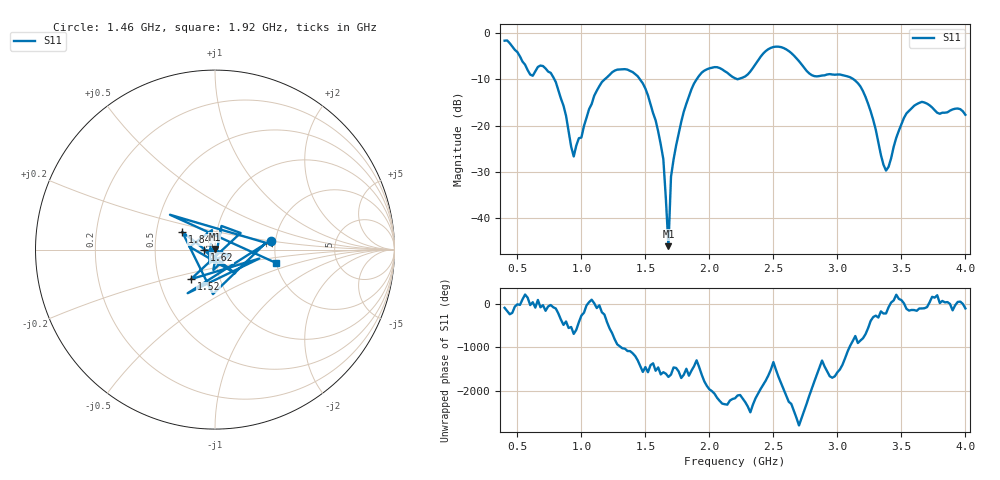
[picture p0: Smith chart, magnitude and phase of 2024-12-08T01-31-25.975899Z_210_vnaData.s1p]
!Created with skrf (http://scikit-rf.org).
# Hz S RI R 50.0
!freq ReS11 ImS11
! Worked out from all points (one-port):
!   181 points, 400 MHz to 4 GHz, reference 50 ohm
!   lowest |S11| = -46.1 dB at 1.68 GHz (marker M1), VSWR 1.01, Z = 49.7 + j0.41 ohm
!   |S11| at or under -10 dB: 789.6 MHz to 1.181 GHz (391.1 MHz wide, 39.7 % of centre); 1.458 GHz to 1.899 GHz (441.1 MHz wide, 26.3 % of centre); 3.128 GHz to end of sweep
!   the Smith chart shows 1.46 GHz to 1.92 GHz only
!   S11 on the Smith chart (normalised r, x): 1.46 GHz: 1.88, +0.21; 1.52 GHz: 0.73, -0.25; 1.62 GHz: 0.88, -0.00; 1.84 GHz: 0.68, +0.14; 1.92 GHz: 1.99, -0.34
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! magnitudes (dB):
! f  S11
! 400 MHz  -1.6
! 600 MHz  -8.9
! 680 MHz  -7.0
! 760 MHz  -8.6
! 860 MHz  -15.7
! 940 MHz  -26.7
! 1.12 GHz  -12.4
! 1.3 GHz  -7.8
! 1.46 GHz  -10.1
! 1.52 GHz  -13.4
! 1.62 GHz  -24.1
! 1.64 GHz  -27.2
! 1.68 GHz  -46.1
! 1.7 GHz  -31.1
! 1.76 GHz  -21.7
! 1.84 GHz  -13.6
! 1.92 GHz  -9.2
! 2.06 GHz  -7.3
! 2.2 GHz  -9.7
! 2.48 GHz  -3.1
! 2.66 GHz  -4.8
! 2.8 GHz  -9.1
! 3.1 GHz  -9.5
! 3.22 GHz  -13.8
! 3.38 GHz  -29.7
! 3.56 GHz  -16.8
! 3.66 GHz  -14.9
! 4 GHz  -17.6
